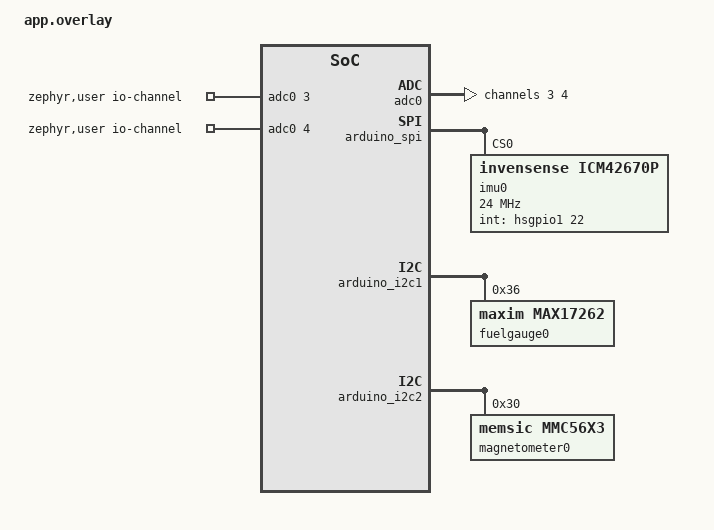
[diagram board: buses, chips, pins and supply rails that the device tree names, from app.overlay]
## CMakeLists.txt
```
# SPDX-License-Identifier: Apache-2.0

cmake_minimum_required(VERSION 3.20.0)

# Add boards directory
list(APPEND BOARD_ROOT ${CMAKE_CURRENT_SOURCE_DIR}/..)

# Using floats for sensor fusion
add_definitions(-DSENSOR_FUSION_FLOATS)

# Add additional conf file directory
set(EXTRA_CONF_FILE ${CMAKE_CURRENT_SOURCE_DIR}/boards/overlay_hostap.conf)

find_package(Zephyr REQUIRED HINTS $ENV{ZEPHYR_BASE})
project(simple_osc)

# Compile with hardware float
zephyr_cc_option(-mfloat-abi=hard)

# Set library path for dependents
set(LIBDEPS_PATH "libdeps")

# Create variables for library dependents
# Liblo/Libmapper
set(LIBMAPPER_SOURCE_PATH ${LIBDEPS_PATH}/libmapper-nxp/src)
set(LIBMAPPER_INCLUDE_PATH ${LIBDEPS_PATH}/libmapper-nxp/src)
# Sensor Fusion
set(SENSOR_FUSION_SOURCE_PATH ${LIBDEPS_PATH}/IMU_Sensor_Fusion)
set(SENSOR_FUSION_INCLUDE_PATH ${LIBDEPS_PATH}/IMU_Sensor_Fusion)
# Puara module
set(PUARA_MODULE_SOURCE_PATH ${LIBDEPS_PATH}/puara-module-zephyr)
set(PUARA_MODULE_INCLUDE_PATH ${LIBDEPS_PATH}/puara-module-zephyr)
# Puara Gestures
# set(PUARA_GESTURES_ROOT ${LIBDEPS_PATH}/puara-gestures)
# set(PUARA_GESTURES_SOURCE_PATH ${PUARA_GESTURES_ROOT}/src)
# set(PUARA_GESTURES_INCLUDE_PATH ${PUARA_GESTURES_ROOT}/include)



# Target repositories in libdeps sources
FILE(GLOB liblo_sources 
    ${LIBMAPPER_SOURCE_PATH}/lo/*.c
    ${LIBMAPPER_SOURCE_PATH}/compat/*.c
    ${LIBMAPPER_SOURCE_PATH}/zlib/*.c
    ${LIBMAPPER_SOURCE_PATH}/*.c*
)

FILE(GLOB sensor_fusion_sources
    ${SENSOR_FUSION_SOURCE_PATH}/*.c*
)

FILE(GLOB puara_module_sources
    ${PUARA_MODULE_SOURCE_PATH}/*.c*
)

# FILE(GLOB puara_gesture_sources
#     ${PUARA_GESTURES_SOURCE_PATH}/*.c*
# )

# Target app sources
FILE(GLOB app_sources src/*.c*)

target_sources(app PRIVATE 
    ${liblo_sources}
    ${sensor_fusion_sources}
    ${puara_module_sources}
    # ${puara_gesture_sources}
    ${app_sources}
)

# add_executable(crc32 crc32.c)
target_include_directories(app PRIVATE 
    ${LIBMAPPER_INCLUDE_PATH}
    ${SENSOR_FUSION_INCLUDE_PATH}
    ${PUARA_MODULE_INCLUDE_PATH}
    # ${PUARA_GESTURES_INCLUDE_PATH}
)
```

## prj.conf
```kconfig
# Project specific conf
CONFIG_CPP=y
CONFIG_GLIBCXX_LIBCPP=y
CONFIG_STD_CPP20=y
CONFIG_CPP_EXCEPTIONS=y

# Sensor settings
CONFIG_GPIO=y
CONFIG_ADC=y
CONFIG_ADC_ASYNC=y
CONFIG_SPI=y
CONFIG_I2C=y
CONFIG_I2C_CALLBACK=y
CONFIG_SENSOR=y
CONFIG_MAX17262=y
CONFIG_MMC56X3=y
CONFIG_ICM42670=y
CONFIG_ICM42670_TRIGGER_GLOBAL_THREAD=y

# Sys clock settings
# CONFIG_CORTEX_M_SYSTICK=y

# FPU settings
CONFIG_FPU=y
CONFIG_FPU_SHARING=y

# Flash memory settings
CONFIG_FLASH=y
CONFIG_FLASH_MAP=y
CONFIG_NVS=y

# Settings savings for the api
CONFIG_SETTINGS=y
CONFIG_SETTINGS_RUNTIME=y
CONFIG_SETTINGS_NVS=y

# Power management settings
CONFIG_PM=y
CONFIG_REBOOT=y
CONFIG_KERNEL_SHELL_REBOOT_DELAY=500

#Uart settings
CONFIG_UART_ASYNC_API=y
CONFIG_UART_INTERRUPT_DRIVEN=n

# Shell Settings
CONFIG_EARLY_CONSOLE=y
CONFIG_SHELL=y
CONFIG_SHELL_GETOPT=y
CONFIG_GETOPT_LONG=y
CONFIG_SHELL_ASYNC_API=y
CONFIG_SHELL_BACKEND_SERIAL_INTERRUPT_DRIVEN=n # make sure serial uses asynchronous backend

# Addition shell commands if needed
# CONFIG_NET_SHELL=n
# CONFIG_NET_L2_WIFI_SHELL=n

# Logging Settings
CONFIG_NET_LOG=y

#Stack Sizes
CONFIG_MAIN_STACK_SIZE=5200
CONFIG_SHELL_STACK_SIZE=5200
CONFIG_NET_TX_STACK_SIZE=2048
CONFIG_NET_RX_STACK_SIZE=2048

# Wifi settings
CONFIG_WIFI=y
CONFIG_WIFI_LOG_LEVEL_ERR=y
CONFIG_NET_PKT_RX_COUNT=10
CONFIG_NET_PKT_TX_COUNT=10
CONFIG_NET_BUF_RX_COUNT=20
CONFIG_NET_BUF_TX_COUNT=20
CONFIG_NET_MAX_CONTEXTS=10
CONFIG_NET_DHCPV4=y

# Network settings
CONFIG_NETWORKING=y
CONFIG_NET_IPV4=y
CONFIG_NET_IPV6=n
CONFIG_NET_CONNECTION_MANAGER=y
CONFIG_NET_TCP=y
CONFIG_WIFI_NM_WPA_CTRL_RESP_TIMEOUT_S=5000
# printing of scan results puts pressure on queues in new locking
# design in net_mgmt. So, use a higher timeout for a crowded
# environment.
CONFIG_NET_MGMT_EVENT_QUEUE_TIMEOUT=5000
CONFIG_NET_MGMT_EVENT_QUEUE_SIZE=16

# System Settings
CONFIG_INIT_STACKS=y
CONFIG_THREAD_RUNTIME_STATS=y
CONFIG_THREAD_RUNTIME_STATS_USE_TIMING_FUNCTIONS=y
CONFIG_TEST_RANDOM_GENERATOR=y
CONFIG_POSIX_API=y

# Network statistics
CONFIG_NET_STATISTICS=n
CONFIG_NET_PKT_TXTIME_STATS=n
CONFIG_NET_STATISTICS_PERIODIC_OUTPUT=n

# For debugging
# CONFIG_THREAD_NAME=y
# CONFIG_THREAD_ANALYZER=y
# CONFIG_THREAD_STACK_INFO=y
# CONFIG_THREAD_MONITOR=y
# CONFIG_THREAD_ANALYZER_ISR_STACK_USAGE=y
# CONFIG_THREAD_ANALYZER_AUTO_INTERVAL=5
# CONFIG_THREAD_ANALYZER_USE_PRINTK=y
# CONFIG_THREAD_ANALYZER_AUTO=y
# CONFIG_THREAD_ANALYZER_USE_LOG=n
# Stack usage (for future reference)
#  0x10078c00          : STACK: unused 1960 usage 4184 / 6144 (68 %); CPU: 0 %
#                      : Total CPU cycles used: 251075
#  thread_analyzer     : STACK: unused 480 usage 544 / 1024 (53 %); CPU: 2 %
#                      : Total CPU cycles used: 877871282
#  conn_mgr_monitor    : STACK: unused 232 usage 280 / 512 (54 %); CPU: 0 %
#                      : Total CPU cycles used: 55914
#  0x10078d58          : STACK: unused 2944 usage 5248 / 8192 (64 %); CPU: 0 %
#                      : Total CPU cycles used: 254281232
#  net_socket_service  : STACK: unused 3392 usage 704 / 4096 (17 %); CPU: 0 %
#                      : Total CPU cycles used: 93611
#  rx_q[0]             : STACK: unused 1108 usage 940 / 2048 (45 %); CPU: 0 %
#                      : Total CPU cycles used: 1677096
#  wlcmgr_mon_task     : STACK: unused 2752 usage 320 / 3072 (10 %); CPU: 0 %
#                      : Total CPU cycles used: 3946
#  wlcmgr_task         : STACK: unused 3696 usage 1424 / 5120 (27 %); CPU: 0 %
#                      : Total CPU cycles used: 4722432
#  wifi_powersave_task : STACK: unused 776 usage 248 / 1024 (24 %); CPU: 0 %
#                      : Total CPU cycles used: 1902
#  wifi_drv_tx_task    : STACK: unused 1720 usage 328 / 2048 (16 %); CPU: 4 %
#                      : Total CPU cycles used: 1949877218
#  wifi_scan_task      : STACK: unused 1528 usage 520 / 2048 (25 %); CPU: 0 %
#                      : Total CPU cycles used: 534405
#  wifi_drv_task       : STACK: unused 968 usage 1080 / 2048 (52 %); CPU: 0 %
#                      : Total CPU cycles used: 1056771
#  HAL_ImuMainCpu13    : STACK: unused 808 usage 1240 / 2048 (60 %); CPU: 0 %
#                      : Total CPU cycles used: 134595802
#  tx_q[0]             : STACK: unused 1432 usage 616 / 2048 (30 %); CPU: 5 %
#                      : Total CPU cycles used: 2425055113
#  net_mgmt            : STACK: unused 3848 usage 760 / 4608 (16 %); CPU: 0 %
#                      : Total CPU cycles used: 2863938
#  tcp_work            : STACK: unused 1768 usage 280 / 2048 (13 %); CPU: 0 %
#                      : Total CPU cycles used: 909
#  shell_uart          : STACK: unused 3568 usage 528 / 4096 (12 %); CPU: 0 %
#                      : Total CPU cycles used: 124008
#  sysworkq            : STACK: unused 1404 usage 644 / 2048 (31 %); CPU: 24 %
#                      : Total CPU cycles used: 10120168438
#  idle                : STACK: unused 328 usage 184 / 512 (35 %); CPU: 18 %
#                      : Total CPU cycles used: 7334053979
#  main                : STACK: unused 7720 usage 4568 / 12288 (37 %); CPU: 42 %
#                      : Total CPU cycles used: 17449276527
#  ISR0                : STACK: unused 1704 usage 344 / 2048 (16 %)
```

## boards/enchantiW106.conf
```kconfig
CONFIG_WIFI_NXP=y
CONFIG_NXP_RW610=y
CONFIG_NXP_WIFI_SHELL=n

#
# C Library
#
CONFIG_REQUIRES_FULL_LIBC=y
CONFIG_CBPRINTF_FP_SUPPORT=y

# log
CONFIG_WIFI_LOG_LEVEL_ERR=y
CONFIG_THREAD_LOCAL_STORAGE=y
# CONFIG_ASSERT=y
# CONFIG_ASSERT_LEVEL=2
CONFIG_LOG_MODE_MINIMAL=y
CONFIG_LOG_PRINTK=n
CONFIG_LOG_DEFAULT_LEVEL=1

# os
CONFIG_THREAD_CUSTOM_DATA=y
CONFIG_EVENTS=y
CONFIG_SYS_HEAP_AUTO=y
CONFIG_HEAP_MEM_POOL_SIZE=122880
CONFIG_SCHED_MULTIQ=y
CONFIG_ZVFS_OPEN_MAX=30

# shell
CONFIG_SHELL_ARGC_MAX=48
# CONFIG_WIFI_SHELL_MAX_AP_STA=8
# CONFIG_WIFI_MGMT_AP_MAX_NUM_STA=8
CONFIG_SHELL_CMD_BUFF_SIZE=512

# net
CONFIG_NET_L2_ETHERNET=y
CONFIG_NET_DHCPV4_SERVER_ADDR_COUNT=32
CONFIG_NET_IPV4=y
CONFIG_NET_IPV6=y
CONFIG_ETH_MCUX=n
CONFIG_NET_BUF_LOG=y
CONFIG_NET_PKT_RX_COUNT=60
CONFIG_NET_PKT_TX_COUNT=40
CONFIG_NET_BUF_RX_COUNT=60
CONFIG_NET_BUF_TX_COUNT=80
CONFIG_NET_BUF_DATA_SIZE=1744
CONFIG_NET_TC_TX_COUNT=1
CONFIG_NET_TC_RX_COUNT=1
CONFIG_NET_MGMT_EVENT_QUEUE_SIZE=20
CONFIG_NET_IF_MAX_IPV4_COUNT=2
CONFIG_NET_IF_MAX_IPV6_COUNT=2
CONFIG_DNS_RESOLVER=y
CONFIG_DNS_RESOLVER_MAX_SERVERS=2
CONFIG_NET_SOCKETS_POLL_MAX=14
CONFIG_NET_IPV4_FRAGMENT=y
CONFIG_NET_IPV4_FRAGMENT_MAX_COUNT=3
CONFIG_NET_IPV4_FRAGMENT_MAX_PKT=7
CONFIG_NET_IPV4_FRAGMENT_TIMEOUT=3
CONFIG_NET_IPV6_FRAGMENT=y
CONFIG_NET_IPV6_FRAGMENT_MAX_COUNT=3
CONFIG_NET_IPV6_FRAGMENT_MAX_PKT=8
CONFIG_NET_IPV6_FRAGMENT_TIMEOUT=3
CONFIG_NET_MAX_CONN=10
CONFIG_NET_DHCPV4_SERVER_ICMP_PROBE_TIMEOUT=100
CONFIG_ETH_DRIVER=n

# net threads priority
CONFIG_NET_TC_THREAD_PRIO_CUSTOM=y
CONFIG_NET_TC_THREAD_PREEMPTIVE=y
CONFIG_NET_TCP_WORKER_PRIO=-16
CONFIG_NET_TC_TX_THREAD_BASE_PRIO=3
CONFIG_NET_TC_RX_THREAD_BASE_PRIO=3
CONFIG_NET_SOCKETS_SERVICE_THREAD_PRIO=3
CONFIG_NET_TC_SKIP_FOR_HIGH_PRIO=y
CONFIG_NET_CONTEXT_PRIORITY=y
CONFIG_NET_MGMT_THREAD_PRIO_CUSTOM=y
CONFIG_NET_MGMT_THREAD_PRIORITY=3

# power management
CONFIG_PM=y
CONFIG_PM_DEVICE=y
CONFIG_PM_LOG_LEVEL_OFF=y
CONFIG_PM_DEVICE_LOG_LEVEL_OFF=y

# stack size
CONFIG_IDLE_STACK_SIZE=512
CONFIG_SHELL_STACK_SIZE=2048
CONFIG_SYSTEM_WORKQUEUE_STACK_SIZE=2048
CONFIG_NET_MGMT_EVENT_STACK_SIZE=4608
CONFIG_NET_TCP_WORKQ_STACK_SIZE=2048
CONFIG_MAIN_STACK_SIZE=12288
CONFIG_NET_SOCKETS_SERVICE_STACK_SIZE=4096

# optimization level
# refer to Kconfig.zephyr for Optimizations Level
CONFIG_SPEED_OPTIMIZATIONS=y
#CONFIG_SIZE_OPTIMIZATIONS=y
#CONFIG_DEBUG_OPTIMIZATIONS=y
#CONFIG_NO_OPTIMIZATIONS=y

# debug & stats
# CONFIG_SYS_HEAP_VALIDATE=y
# CONFIG_SYS_HEAP_RUNTIME_STATS=y
#CONFIG_NET_PKT_TXTIME_STATS=y
#CONFIG_NET_PKT_TXTIME_STATS_DETAIL=y
# CONFIG_NET_STATISTICS_WIFI=y
# CONFIG_NET_STATISTICS_USER_API=y
#CONFIG_NET_STATISTICS_PERIODIC_OUTPUT=y
#CONFIG_NET_BUF_POOL_USAGE=y
#CONFIG_NET_DEBUG_NET_PKT_ALLOC=y

# stack size for -O0
#CONFIG_SHELL_STACK_SIZE=8192
#CONFIG_NET_TCP_WORKQ_STACK_SIZE=4096
#CONFIG_NET_TX_STACK_SIZE=4096
#CONFIG_NET_RX_STACK_SIZE=4096
#CONFIG_SYSTEM_WORKQUEUE_STACK_SIZE=4096
#CONFIG_ZPERF_WORK_Q_STACK_SIZE=4096
#CONFIG_MAIN_STACK_SIZE=4096
#CONFIG_IDLE_STACK_SIZE=2048

# comment out for -O0
CONFIG_CODE_DATA_RELOCATION_SRAM=y
```

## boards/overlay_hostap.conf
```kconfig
# wpa_supplicant
CONFIG_WIFI_NM_WPA_SUPPLICANT=y
CONFIG_WIFI_NM_WPA_SUPPLICANT_CLI=n
CONFIG_WIFI_NM_WPA_SUPPLICANT_CRYPTO_ALT=y
CONFIG_WIFI_NM_WPA_SUPPLICANT_CRYPTO_ENTERPRISE=y
CONFIG_WIFI_NM_WPA_SUPPLICANT_DPP=y
CONFIG_WIFI_NM_WPA_SUPPLICANT_EAPOL=y
CONFIG_WIFI_NM_WPA_SUPPLICANT_CRYPTO_MBEDTLS_PSA=y
CONFIG_WIFI_NM_WPA_SUPPLICANT_INF_MON=n
CONFIG_WIFI_NM_MAX_MANAGED_INTERFACES=2
CONFIG_SAE_PWE_EARLY_EXIT=y
CONFIG_WIFI_NM_HOSTAPD_AP=y
CONFIG_WIFI_NM_WPA_SUPPLICANT_WPS=y
CONFIG_WIFI_NM_HOSTAPD_WPS=y
CONFIG_WIFI_NM_WPA_SUPPLICANT_ROAMING=y
CONFIG_WIFI_NM_WPA_SUPPLICANT_SKIP_DHCP_ON_ROAMING=y
CONFIG_WIFI_NM_HOSTAPD_CRYPTO_ENTERPRISE=y

# Enable mbedtls
CONFIG_MBEDTLS=y
CONFIG_MBEDTLS_BUILTIN=y
CONFIG_MBEDTLS_USER_CONFIG_ENABLE=y
CONFIG_MBEDTLS_USER_CONFIG_FILE="wpa_supp_els_pkc_mbedtls_config.h"
CONFIG_ENTROPY_GENERATOR=y
CONFIG_MBEDTLS_PSA_CRYPTO_C=y
CONFIG_MBEDTLS_ENTROPY_C=y
CONFIG_MBEDTLS_SSL_MAX_CONTENT_LEN=8192
CONFIG_COMMON_LIBC_MALLOC_ARENA_SIZE=80000

#priority
CONFIG_WIFI_NM_WPA_SUPPLICANT_WQ_PRIO=3
CONFIG_WIFI_NM_WPA_SUPPLICANT_PRIO=3

# stack size
CONFIG_WIFI_NM_WPA_SUPPLICANT_WQ_STACK_SIZE=12288
CONFIG_WIFI_NM_WPA_SUPPLICANT_THREAD_STACK_SIZE=12288

# stack size for -O0
#CONFIG_WIFI_NM_WPA_SUPPLICANT_WQ_STACK_SIZE=16384
#CONFIG_WIFI_NM_WPA_SUPPLICANT_THREAD_STACK_SIZE=16384

# debug level
#CONFIG_WIFI_NM_WPA_SUPPLICANT_DEBUG_LEVEL=2
# CONFIG_WIFI_NM_WPA_SUPPLICANT_LOG_LEVEL_INF=y
```

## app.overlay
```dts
/*
 * Copyright (c) 2024 Albert Niyonsenga
 *
 * SPDX-License-Identifier: Apache-2.0
 */

 #include <zephyr/dt-bindings/adc/nxp,gau-adc.h>

/ {
	zephyr,user {
		/* adjust channel number according to pinmux in board.dts */
		io-channels = <&adc0 3>, <&adc0 4>;
	};
};

&adc0 {
	#address-cells = <1>;
	#size-cells = <0>;

	channel@3 {
		reg = <3>;
		zephyr,gain = "ADC_GAIN_1";
		zephyr,reference = "ADC_REF_VDD_1";
		zephyr,vref-mv = <3300>;
		zephyr,acquisition-time = <ADC_ACQ_TIME_DEFAULT>;
		zephyr,resolution = <16>;
		zephyr,input-positive = <GAU_ADC_CH3>;
	};

	channel@4 {
		reg = <4>;
		zephyr,gain = "ADC_GAIN_1";
		zephyr,reference = "ADC_REF_VDD_1";
		zephyr,vref-mv = <3300>;
		zephyr,acquisition-time = <ADC_ACQ_TIME_DEFAULT>;
		zephyr,resolution = <16>;
		zephyr,input-positive = <GAU_ADC_CH4>;
	};
};

&arduino_spi {
    status = "okay";

    imu0: icm42670p@0 {
		compatible = "invensense,icm42670p";
		spi-max-frequency = <24000000>;
		reg = <0>;
		int-gpios = <&hsgpio1 22 GPIO_ACTIVE_HIGH>;
		accel-hz = <1600>;
		gyro-hz = <1600>;
		accel-fs = <8>;
		gyro-fs = <2000>;
	};
};

&arduino_i2c1 {
	status = "okay";

	fuelgauge0: max17262@36 {
		compatible = "maxim,max17262";
		reg = <0x36>;
		design-voltage = <4200>;
		desired-voltage = <4200>;
		desired-charging-current = <320>; // end of charge current (50mA * 6.4, to store in register)
		design-cap = <4000>;   		 	  // design cap (2000mAh * 2, to store in register)
		empty-voltage = <3300>;
		recovery-voltage = <3880>;
		charge-voltage = <4200>;
		status = "okay";
	};
};
&arduino_i2c2 {
	status = "okay";

	magnetometer0: mmc56x3@30 {
		compatible = "memsic,mmc56x3";
		reg = <0x30>;
		magn-odr = <250>;
		auto-self-reset;
		bandwidth-selection-bits-0;
		bandwidth-selection-bits-1;
		status = "okay";
	};
};
```

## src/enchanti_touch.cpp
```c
#include "enchanti_touch.h"
#include <cmath>
#include <algorithm>

// headers needed for Zephyr I2C
#include <zephyr/kernel.h>
#include <zephyr/device.h>
#include <zephyr/devicetree.h>
#include <zephyr/drivers/gpio.h>
#include <zephyr/drivers/i2c.h>
#include <zephyr/drivers/clock_control.h>
#include <zephyr/drivers/pinctrl.h>
#include <zephyr/drivers/reset.h>
#define I2C_MASTER DT_ALIAS(i2c3)

// Use HAL NXP drivers
#include "fsl_i2c.h"
#include "fsl_i2c_dma.h"

// Zephyr setup
// I2C master functionality
static const struct device *const com_dev = DEVICE_DT_GET(I2C_MASTER);

// Get DMA 

// Define MCUS flexcomm config so I can get I2c base
struct mcux_flexcomm_config {
	I2C_Type *base;
	const struct device *clock_dev;
	clock_control_subsys_t clock_subsys;
	void (*irq_config_func)(const struct device *dev);
	uint32_t bitrate;
	const struct pinctrl_dev_config *pincfg;
	const struct reset_dt_spec reset;
};

// DMA settings
/*******************************************************************************
 * Definitions needed for HAL I2C
 ******************************************************************************/
#define HAL_I2C_MASTER              I2C2
#define DMA_CHANNEL                DMA0
#define HAL_I2C_MASTER_CHANNEL         5
#define I2C_BAUDRATE               (1000000) /* 1Mhz */
#define I2C_DATA_LENGTH            (240)     /* MAX is 256 */

i2c_master_dma_handle_t g_m_dma_handle;
static dma_handle_t dmaHandle;
volatile bool g_MasterCompletionFlag = false;

// i2c Buffers
uint8_t g_master_txBuff[I2C_DATA_LENGTH];
uint8_t g_master_rxBuff[I2C_DATA_LENGTH];

// callback
static void i2c_master_dma_callback(I2C_Type *base, i2c_master_dma_handle_t *handle, status_t status, void *userData);

/*******************************************************************************
 * Class methods
 ******************************************************************************/
// Initialise touch board, 
uint8_t EnchantiTouch::initTouch(touch_config enchanti_config) {
    float num = enchanti_config.touchsize / ENCHANTI_BASETOUCHSIZE;
    // Clip number of touch boards to 2
    if (num > 2) {
        num = 2;
        touchSize = 2 * ENCHANTI_BASETOUCHSIZE;
    } else if (num < 0) {
        num = 1;
        touchSize = ENCHANTI_BASETOUCHSIZE;
    } else {
        // set touchsize
        num_boards = num;
        touchSize = floor(num_boards * ENCHANTI_BASETOUCHSIZE);
    }

    // Save properties to class
    num_boards = num;
    noise_threshold = enchanti_config.touch_threshold;
    boardMode = enchanti_config.touch_mode;
    comMode = enchanti_config.comm_mode;

    // Setup I2C device
    if(!device_is_ready(com_dev)) {
        return 0;
    }

    // Initialise DMA Channel
    DMA_Init(DMA_CHANNEL);

    /* Initialise tx and rx buffer */
    memset(g_master_txBuff, 0 , I2C_DATA_LENGTH);
    memset(g_master_rxBuff, 0 , I2C_DATA_LENGTH);

    /* Initialise DMA handle and transfer config*/
    memset(&g_m_dma_handle, 0, sizeof(g_m_dma_handle));

    /* Initialise DMA Handle and buffer */
    DMA_EnableChannel(DMA_CHANNEL, HAL_I2C_MASTER_CHANNEL);
    DMA_CreateHandle(&dmaHandle, DMA_CHANNEL, HAL_I2C_MASTER_CHANNEL);
    I2C_MasterTransferCreateHandleDMA(HAL_I2C_MASTER, &g_m_dma_handle, i2c_master_dma_callback, NULL, &dmaHandle);


    running = true;
    return 1;
}

void EnchantiTouch::readTouch(){
    // Read data from all touch buttons
    if (comMode == COMMS::I2C_MODE) {
        // Compute buffer length
        int length = 0;
        if (touchSize < ENCHANTI_BASETOUCHSIZE) {
            // Each sensor needs 2 bytes == 120 Byte read
            length = touchSize * 2;
        } else {
            length = ENCHANTI_BASETOUCHSIZE * 2;
        }

        // Read touch data from I2C buffer
        readI2CBuffer(main_i2c_addr, baseReg, length);

        // // Read auxillary touch board data
        // if (num_boards > 1) {
        //     length = (touchSize - ENCHANTI_BASETOUCHSIZE) * 2;
        //     readI2CBuffer(aux_i2c_addr, baseReg, length, ENCHANTI_BASETOUCHSIZE); // offset data index to not overwrite main touch board data
        // }
    }
}

void EnchantiTouch::cookData() {
    // Get max value, but also use it to check if any touch is pressed
    int instant_maxTouchValue = *std::max_element(data, data+touchSize);

    // Touching the T-Stick or not?
    if (instant_maxTouchValue == 0) {
        touchStatus = 0;
    } else {
        touchStatus = 1;
    }

    // We need a updated maxTouchValue to normalize touch
    maxTouchValue = std::max(maxTouchValue,instant_maxTouchValue);

    // Touch discretize and normalize
    for (int i=0; i < touchSize; i++) {
        if (data[i] < noise_threshold) {
            touch[i] = 0;
        } else {
            touch[i] = data[i] - noise_threshold;
        }

        // Set other data vectors
        if (touch[i] != 0) {
            discreteTouch[i] = 1;
            normTouch[i] = (data[i] *100) / maxTouchValue;
        } else {
            normTouch[i] = 0;
            discreteTouch[i] = 0;
        }
    }
}

void EnchantiTouch::readI2CBuffer(uint8_t i2c_addr, uint8_t reg, uint8_t length, int offset)
{
    // If previous transfer complete read available data
    if (g_MasterCompletionFlag) {
        memcpy(data, g_master_rxBuff, sizeof(uint8_t)*length);
        g_MasterCompletionFlag = false;
        newData = true;
    }

    // Update transfer settings
    i2c_master_transfer_t masterXfer;
    masterXfer.slaveAddress   = i2c_addr;
    masterXfer.direction      = kI2C_Read;
    masterXfer.subaddress     = (uint32_t)reg;
    masterXfer.subaddressSize = 1;
    masterXfer.data           = g_master_rxBuff;
    masterXfer.dataSize       = length;
    masterXfer.flags          = kI2C_TransferDefaultFlag;

    // Start new transfer
    I2C_MasterTransferDMA(HAL_I2C_MASTER, &g_m_dma_handle, &masterXfer);
}

bool EnchantiTouch::ready() {
    bool ret = newData;
    newData = false;
    return ret;
}

// I2C transfer functions for non blocking I2C call
static void i2c_master_dma_callback(I2C_Type *base, i2c_master_dma_handle_t *handle, status_t status, void *userData)
{
    /* Signal transfer success when received success status. */
    if (status == kStatus_Success)
    {
        g_MasterCompletionFlag = true;
    }
}
```

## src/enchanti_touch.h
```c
#ifndef ENCHANTITOUCH_H
#define ENCHANTITOUCH_H

#include <iostream>
#include "touch.h"

#define ENCHANTI_BASETOUCHSIZE 60
#define ENCHANTI_BUFFERSIZE 256
#define ENCHANTI_MAXBUFFERSIZE 1024

// Board modes
enum Mode {
    RAW = 1,
    BASELINE = 2,
    DIFF = 3
};
// Board modes
enum COMMS {
    SPI_MODE = 1,
    I2C_MODE = 2
};

struct enchanti_touch_config {
    int touchdevice; // what device is used for touch sensing
    int touchsize; // Size of touch sensor array
    int touch_threshold; // threshold to detect touch
    int touch_mode; // mode for processing touch data
    int comm_mode; // communication mode for the touch sensor
};

class EnchantiTouch: public Touch<enchanti_touch_config>
{
    public:
        // Register addresses for touch data
        enum regAddr
        {
            BOARDMODE_REG   = 1, // Register for mode of the board
            NUMBOARD_REG    = 2, // Register for number of touch boards
            TOUCHMODE_REG   = 3, // Register for the touch mode
            DATA_REG        = 4, // Register of difference data for button 1 (raw - baseline)
        };

        // Board Properties
        int comMode = SPI_MODE;
        int boardMode = RAW;
        bool newData = false;
        float num_boards = 1; // number of touch boards, set half numbers to indicate if using only the first touch circuit
        uint8_t main_i2c_addr = 0x1E;
        uint8_t aux_i2c_addr = 0x1F;
        uint8_t baseReg = DATA_REG;

        // Touch properties
        int noise_threshold = 0;
        int maxTouchValue = 1;
        int touchSize = 60;
        int touchStatus = 0;

        // Touch arrays
        uint16_t data[120];
        int touch[120];
        int normTouch[120];
        int discreteTouch[120];

        // Time since last touch
        int scantimer = 0;
        int i2ctimer = 0;
        int scantime = 0;
        int polltime = 0;

        
        // Running or not
        bool running = true;

        // Methods
		uint8_t initTouch(touch_config enchanti_config);
        void readTouch();
        void cookData();
        bool ready();

    private:
        void readI2CBuffer(uint8_t i2c_addr, uint8_t reg, uint8_t length, int offset = 0);
        void readSPIBuffer(uint16_t length, int offset = 0);
};

#endif
```

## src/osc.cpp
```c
#include "osc.hpp"

int oscBundle::init(const char *baseName) {
    baseNamespace.append(baseName);
    baseNamespace.append("/");
    oscNamespace = baseNamespace;

    // Create bundle
    bundle = lo_bundle_new(LO_TT_IMMEDIATE);

    if (!bundle) {
        return 1; // return 1 on failure
    }

    // Return 0 on success
    return 0;
}

int oscBundle::update_message(int i, size_t size, float *data) {
    // Update specific message
    if (i >= num_messages) {
        return 1; // return 1 on failure
    }   

    // Update the message
    memcpy((char *)bundle->elmnts[i].content.message.msg->data, data, sizeof(float)*size);
    return 0;
}

int oscBundle::update_message(int i, size_t size, int *data) {
    // Update specific message
    if (i >= num_messages) {
        return 1; // return 1 on failure
    }   

    // Update the message
    memcpy((char *)bundle->elmnts[i].content.message.msg->data, data, sizeof(int)*size);
    return 0;
}

int oscBundle::update_message(int i, int data) {
    // Update specific message
    if (i >= num_messages) {
        return 1; // return 1 on failure
    }   

    // Update the message
    memcpy((char *)bundle->elmnts[i].content.message.msg->data, &data, sizeof(int));
    return 0;
}

int oscBundle::update_message(int i, float data) {
    // Update specific message
    if (i >= num_messages) {
        return 1; // return 1 on failure
    }   

    // Update the message
    memcpy((char *)bundle->elmnts[i].content.message.msg->data, &data, sizeof(float));
    return 0;
}

void oscBundle::add(int *idx, const char *path, lo_message msg) {
    int ret = lo_bundle_add_message(bundle, path, msg);
    if (ret < 0) {
        return;
    }
    *idx = num_messages;
    msg_size[num_messages] = lo_strsize(path) + lo_strsize(msg->types);
    msg_length[num_messages] = lo_message_length(msg, path);
    num_messages++;
}

void oscBundle::add(int *idx, const char *path, int value) {
    oscNamespace.replace(oscNamespace.begin()+baseNamespace.size(),oscNamespace.end(), path);
    int ret = 0;
    lo_message tmp_osc = lo_message_new();
    ret = lo_message_add_int32(tmp_osc, value);
    if (ret < 0) {
        lo_message_free(tmp_osc);
        return;
    }
    // Add message to bundle
    add(idx, oscNamespace.c_str(), tmp_osc);
}
void oscBundle::add(int *idx, const char *path, float value) {
    oscNamespace.replace(oscNamespace.begin()+baseNamespace.size(),oscNamespace.end(), path);
    int ret = 0;
    lo_message tmp_osc = lo_message_new();
    ret = lo_message_add_float(tmp_osc, value);
    if (ret < 0) {
        lo_message_free(tmp_osc);
        return;
    }
    // Add message to bundle
    add(idx, oscNamespace.c_str(), tmp_osc);
}
void oscBundle::add(int *idx, const char *path, size_t size, int *value) {
    oscNamespace.replace(oscNamespace.begin()+baseNamespace.size(),oscNamespace.end(), path);
    lo_message tmp_osc = lo_message_new();
    for (size_t i = 0; i < size; i++) {
        lo_message_add_int32(tmp_osc, value[i]);
    }
    // Add message to bundle
    add(idx, oscNamespace.c_str(), tmp_osc);
}

void oscBundle::add(int *idx, const char *path, size_t size,  float *value) {
    oscNamespace.replace(oscNamespace.begin()+baseNamespace.size(),oscNamespace.end(), path);
    lo_message tmp_osc = lo_message_new();
    for (size_t i = 0; i < size; i++) {
        lo_message_add_float(tmp_osc, value[i]);
    }
    // Add message to bundle
    add(idx, oscNamespace.c_str(), tmp_osc);
}

void oscBundle::send(lo_address a, lo_server from) {
    // Send data
    if (serialise()) {
        // Send the bundle
        lo_send_serialised_bundle_from(a, from, char_bundle, data_len);
    }
}

void oscBundle::fast_send(lo_address a, lo_server from) {
    // Send data
    if (fast_serialise()) {
        // Send the bundle
        lo_send_serialised_bundle_from(a, from, char_bundle, data_len);
    }
}


int oscBundle::serialise() {
    if (data_len > MAX_BUNDLE_SIZE) {
        return 0;
    }

    if(!lo_bundle_serialise(bundle, &char_bundle, &data_len)) {
        // return 0 uif null pointer was returned (indicates error)
        return 0;
    }
    return 1; // if successful
}

int oscBundle::fast_serialise() {
    if (data_len > MAX_BUNDLE_SIZE) {
        return 0;
    }
    if (data_len == 0) first_time = true;
    if (!lo_bundle_serialise_fast(bundle, &char_bundle, &data_len)) {
        // returns 0 if null pointer was returned
        return 0;
    }
    if (first_time) first_time = false; // skips certain memset functions not needed for multiple serialising runs
    return 1;
}

int oscBundle::serialise_message(int idx, void *pos) {
    size_t msg_len;
    lo_message_serialise(bundle->elmnts[idx].content.message.msg, bundle->elmnts[idx].content.message.path, pos, &msg_len);
    return 1;
}

int oscBundle::lo_bundle_serialise_fast(lo_bundle b, void *to, size_t * size)
{
    size_t s, skip;
    int32_t *bes;
    size_t i;
    char *pos;
    lo_pcast32 be;

    if (!b) {
        if (size) *size = 0;
        return -LO_EINVALIDBUND;
    }

    if (data_len == 0) {
        s = lo_bundle_length(b);
        if (size) {
            *size = s;
        }
    } else {
        s = data_len;
    }

    if (!to) {
        return -LO_EINVALIDARG;
    }
    
    pos = (char*) to;
    if (first_time) {
        strcpy(pos, "#bundle");
        pos += 8;
        be.nl = lo_htoo32(b->ts.sec);
        memcpy(pos, &be, 4);
        pos += 4;
        be.nl = lo_htoo32(b->ts.frac);
        memcpy(pos, &be, 4);
        pos += 4;
    } else {
        pos += 16;
    }
    
    for (i = 0; i < b->len; i++) {
        switch (b->elmnts[i].type) {
            case LO_ELEMENT_MESSAGE:
                lo_message_serialise_fast(i, b->elmnts[i].content.message.msg, b->elmnts[i].content.message.path, pos + 4, &skip);
                break;
            case LO_ELEMENT_BUNDLE:
                lo_bundle_serialise_fast(b->elmnts[i].content.bundle, pos+4, &skip);
                break;
	    }

        bes = (int32_t *) (void *)pos;
        *bes = __builtin_bswap32(skip);
        pos += skip + 4;

        if (pos > (char*) to + s) {
            return -LO_EINVALIDBUND;
        }
    }
    if (pos != (char*) to + s) {
        return -LO_EINVALIDBUND;
    }
    return 1;
}

int oscBundle::lo_message_serialise_fast(int msg_idx, lo_message m, const char *path, void *to, size_t * size)
{
    int argc;
    char *ptr;
    size_t s = msg_length[msg_idx];

    if (size) {
        *size = s;
    }

    if (!to) {
        to = calloc(1, s);
    }

    if (first_time) {
        // Only do this once, we don't have to reformat this for future calls
        memset((char*) to + lo_strsize(path) - 4, 0, 4);   // ensure zero-padding
        strcpy((char*) to, path);
        memset((char*) to + lo_strsize(path) + lo_strsize(m->types) - 4, 0,
            4);
        strcpy((char*) to + lo_strsize(path), m->types);
    }
    ptr = (char*) to + msg_size[msg_idx];
    memcpy(ptr, m->data, m->datalen);

    argc = (int) m->typelen - 1;
    fast_reorder(argc, ptr);
    return 1;
}

inline void fast_reorder(int num, void *data) {
    for (int i = 0; i < num; ++i) {
        *(int32_t *) data = __builtin_bswap32(*(int32_t *) data);
        data += 4;
    }
}
```

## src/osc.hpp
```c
// C++ class for updating liblo messages and bundles
#ifndef _LIBLO_OSC_BUNDLE_H_
#define _LIBLO_OSC_BUNDLE_H_
#include <string>
#include <lo/config.h>
#include <lo/lo_types_internal.h>
#include <lo/lo.h>
#include <lo/lo_lowlevel.h>

#define MAX_BUNDLE_SIZE 2048
#define MAX_NUM_MESSAGES 52

// Helpers
inline void fast_reorder(int num, void *data);

// Bundle
class oscBundle {
    public:
        // Liblo bundles
        lo_bundle bundle;
        char char_bundle[MAX_BUNDLE_SIZE];
        std::string str_bundle = "#bundle";
        int idx;
        size_t data_len = 0;
        bool first_time = true;

        // Store some information about messages
        size_t msg_size[MAX_NUM_MESSAGES];
        size_t msg_length[MAX_NUM_MESSAGES];

        // Properties
        int num_messages = 0;
        std::string baseNamespace = "/";
        std::string oscNamespace;
    
        // Methods
        int init(const char *baseName);
        int update_message(int i, size_t size, float *data);
        int update_message(int i, size_t size, int *data);
        int update_message(int i, int data);
        int update_message(int i, float data);

        // Add data
        void add(int *idx,const char *path, int value);
        void add(int *idx,const char *path, float value);
        void add(int *idx,const char *path, size_t size, int *value);
        void add(int *idx,const char *path, size_t size,  float *value);
        void add(int *idx,const char *path, lo_message msg);

        // Serialise Data
        int serialise();
        int fast_serialise();
        int serialise_message(int idx, void *pos);
        int lo_bundle_serialise_fast(lo_bundle b, void *to, size_t * size);
        int lo_message_serialise_fast(int msg_idx, lo_message m, const char *path, void *to, size_t * size);

        // Send data
        void send(lo_address a, lo_server from);
        void fast_send(lo_address a, lo_server from);
};

#endif
```

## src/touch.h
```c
#ifndef TSTICK_TOUCH_H
#define TSTICK_TOUCH_H
#include <vector>

#define BASETOUCHSIZE 30

/**
 * Touch Class: Parent class for touch controller for the t-stick
 * 
 * @author Albert (12/2024)
 * 
 */
template<typename TOUCH_CONFIG>
class Touch {
    public:
        /**
         * Command data: Structure for the communicating with STM32
         * 
         * @author Albert (06=8/2024)
         * 
         * @param cmd     command
         * @param payload min voltage for source
         * 
         */
        typedef TOUCH_CONFIG touch_config;
        virtual uint8_t initTouch(touch_config touch_config);
        virtual void readTouch();
};

#endif
```
